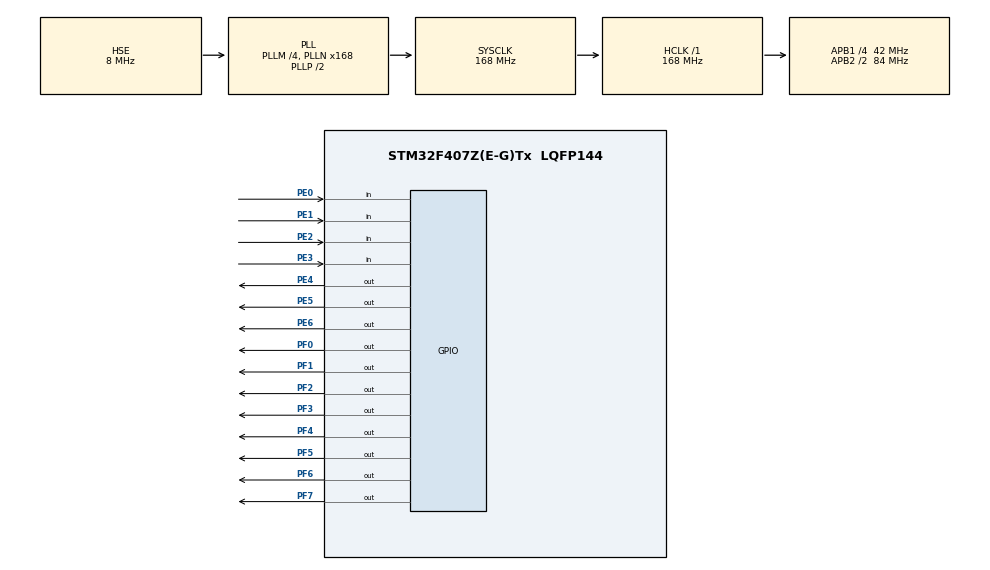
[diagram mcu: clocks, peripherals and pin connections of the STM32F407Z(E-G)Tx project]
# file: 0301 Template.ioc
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Mcu.Family=STM32F4
Mcu.Name=STM32F407Z(E-G)Tx
Mcu.Package=LQFP144
NVIC.PriorityGroup=NVIC_PRIORITYGROUP_4
PA13.Mode=Serial_Wire
PA13.Signal=SYS_JTMS-SWDIO
PA14.Mode=Serial_Wire
PA14.Signal=SYS_JTCK-SWCLK
PE0.GPIO_Mode=GPIO_MODE_INPUT
PE0.GPIO_PuPd=GPIO_PULLUP
PE0.Signal=GPIO_Input
PE1.GPIO_PuPd=GPIO_PULLUP
PE1.Signal=GPIO_Input
PE2.GPIO_PuPd=GPIO_PULLUP
PE2.Signal=GPIO_Input
PE3.GPIO_PuPd=GPIO_PULLUP
PE3.Signal=GPIO_Input
PE4.PinState=GPIO_PIN_SET
PE4.Signal=GPIO_Output
PE5.PinState=GPIO_PIN_SET
PE5.Signal=GPIO_Output
PE6.PinState=GPIO_PIN_SET
PE6.Signal=GPIO_Output
PF0.PinState=GPIO_PIN_SET
PF0.Signal=GPIO_Output
PF1.PinState=GPIO_PIN_SET
PF1.Signal=GPIO_Output
PF2.PinState=GPIO_PIN_SET
PF2.Signal=GPIO_Output
PF3.PinState=GPIO_PIN_SET
PF3.Signal=GPIO_Output
PF4.PinState=GPIO_PIN_SET
PF4.Signal=GPIO_Output
PF5.PinState=GPIO_PIN_SET
PF5.Signal=GPIO_Output
PF6.PinState=GPIO_PIN_SET
PF6.Signal=GPIO_Output
PF7.PinState=GPIO_PIN_SET
PF7.Signal=GPIO_Output
PH0-OSC_IN.Mode=HSE-External-Oscillator
PH0-OSC_IN.Signal=RCC_OSC_IN
PH1-OSC_OUT.Mode=HSE-External-Oscillator
PH1-OSC_OUT.Signal=RCC_OSC_OUT
ProjectManager.HeapSize=0x200
ProjectManager.StackSize=0x400
ProjectManager.TargetToolchain=MDK-ARM V5.32
RCC.48MHZClocksFreq_Value=84000000
RCC.AHBFreq_Value=168000000
RCC.APB1CLKDivider=RCC_HCLK_DIV4
RCC.APB1Freq_Value=42000000
RCC.APB1TimFreq_Value=84000000
RCC.APB2CLKDivider=RCC_HCLK_DIV2
RCC.APB2Freq_Value=84000000
RCC.APB2TimFreq_Value=168000000
RCC.CortexFreq_Value=168000000
RCC.HCLKFreq_Value=168000000
RCC.HSE_VALUE=8000000
RCC.HSI_VALUE=16000000
RCC.LSE_VALUE=32768
RCC.PLLM=4
RCC.PLLN=168
RCC.PLLSourceVirtual=RCC_PLLSOURCE_HSE
RCC.SYSCLKFreq_VALUE=168000000
RCC.SYSCLKSource=RCC_SYSCLKSOURCE_PLLCLK
RCC.VCOOutputFreq_Value=336000000
board=custom

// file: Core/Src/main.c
/* USER CODE BEGIN Header */
/**
  ******************************************************************************
  * @file           : main.c
  * @brief          : Main program body
  ******************************************************************************
  * @attention
  *
  * Copyright (c) 2026 STMicroelectronics.
  * All rights reserved.
  *
  * This software is licensed under terms that can be found in the LICENSE file
  * in the root directory of this software component.
  * If no LICENSE file comes with this software, it is provided AS-IS.
  *
  ******************************************************************************
  */
/* USER CODE END Header */
#include "main.h"
#include "gpio.h"

void SystemClock_Config(void);

int main(void)
{

  /* USER CODE BEGIN 1 */
uint16_t i,KeyVal=0;
uint8_t PreLine[3]={2,0,1};
  /* USER CODE END 1 */

  /* MCU Configuration--------------------------------------------------------*/

  /* Reset of all peripherals, Initializes the Flash interface and the Systick. */
  HAL_Init();

  /* Configure the system clock */
  SystemClock_Config();

  /* Initialize all configured peripherals */
  MX_GPIO_Init();

  /* Infinite loop */
/* USER CODE BEGIN WHILE */
  /* Infinite loop */
  /* USER CODE BEGIN WHILE */
   /* Infinite loop */
  /* USER CODE BEGIN WHILE */
  while (1)
  {
    uint8_t row;
    uint16_t col;
    uint16_t key = 0;
    uint16_t led = 0;
    uint16_t line[3] = {GPIO_PIN_4, GPIO_PIN_5, GPIO_PIN_6};
    HAL_GPIO_WritePin(GPIOE, GPIO_PIN_4 | GPIO_PIN_5 | GPIO_PIN_6, GPIO_PIN_SET);
    for (row = 0; row < 3; row++)
    {
      HAL_GPIO_WritePin(GPIOE, line[row], GPIO_PIN_RESET);
      HAL_Delay(1);

      col = GPIOE->IDR & 0x0F;
      if (col != 0x0F)
      {
        HAL_Delay(16);
        col = GPIOE->IDR & 0x0F;
        if (col != 0x0F)
        {
          switch (col)
          {
            case 0x0E: key = row * 4 + 1; break;
            case 0x0D: key = row * 4 + 2; break;
            case 0x0B: key = row * 4 + 3; break;
            case 0x07: key = row * 4 + 4; break;
            default: break;
          }
        }
      }
      HAL_GPIO_WritePin(GPIOE, line[row], GPIO_PIN_SET);
    }

    if (key >= 1 && key <= 8)
    {
      led = (uint16_t)(1U << (key - 1));
    }
    GPIOF->ODR = (uint8_t)~led;
    /* USER CODE END WHILE */

  }

void SystemClock_Config(void)
{
  RCC_OscInitTypeDef RCC_OscInitStruct = {0};
  RCC_ClkInitTypeDef RCC_ClkInitStruct = {0};

  /** Configure the main internal regulator output voltage
  */
  __HAL_RCC_PWR_CLK_ENABLE();
  __HAL_PWR_VOLTAGESCALING_CONFIG(PWR_REGULATOR_VOLTAGE_SCALE1);

  /** Initializes the RCC Oscillators according to the specified parameters
  * in the RCC_OscInitTypeDef structure.
  */
  RCC_OscInitStruct.OscillatorType = RCC_OSCILLATORTYPE_HSE;
  RCC_OscInitStruct.HSEState = RCC_HSE_ON;
  RCC_OscInitStruct.PLL.PLLState = RCC_PLL_ON;
  RCC_OscInitStruct.PLL.PLLSource = RCC_PLLSOURCE_HSE;
  RCC_OscInitStruct.PLL.PLLM = 4;
  RCC_OscInitStruct.PLL.PLLN = 168;
  RCC_OscInitStruct.PLL.PLLP = RCC_PLLP_DIV2;
  RCC_OscInitStruct.PLL.PLLQ = 4;
  if (HAL_RCC_OscConfig(&RCC_OscInitStruct) != HAL_OK)
  {
    Error_Handler();
  }

  /** Initializes the CPU, AHB and APB buses clocks
  */
  RCC_ClkInitStruct.ClockType = RCC_CLOCKTYPE_HCLK|RCC_CLOCKTYPE_SYSCLK
                              |RCC_CLOCKTYPE_PCLK1|RCC_CLOCKTYPE_PCLK2;
  RCC_ClkInitStruct.SYSCLKSource = RCC_SYSCLKSOURCE_PLLCLK;
  RCC_ClkInitStruct.AHBCLKDivider = RCC_SYSCLK_DIV1;
  RCC_ClkInitStruct.APB1CLKDivider = RCC_HCLK_DIV4;
  RCC_ClkInitStruct.APB2CLKDivider = RCC_HCLK_DIV2;

  if (HAL_RCC_ClockConfig(&RCC_ClkInitStruct, FLASH_LATENCY_5) != HAL_OK)
  {
    Error_Handler();
  }
}

void Error_Handler(void)
{
  __disable_irq();
  while (1)
  {
  }
}
